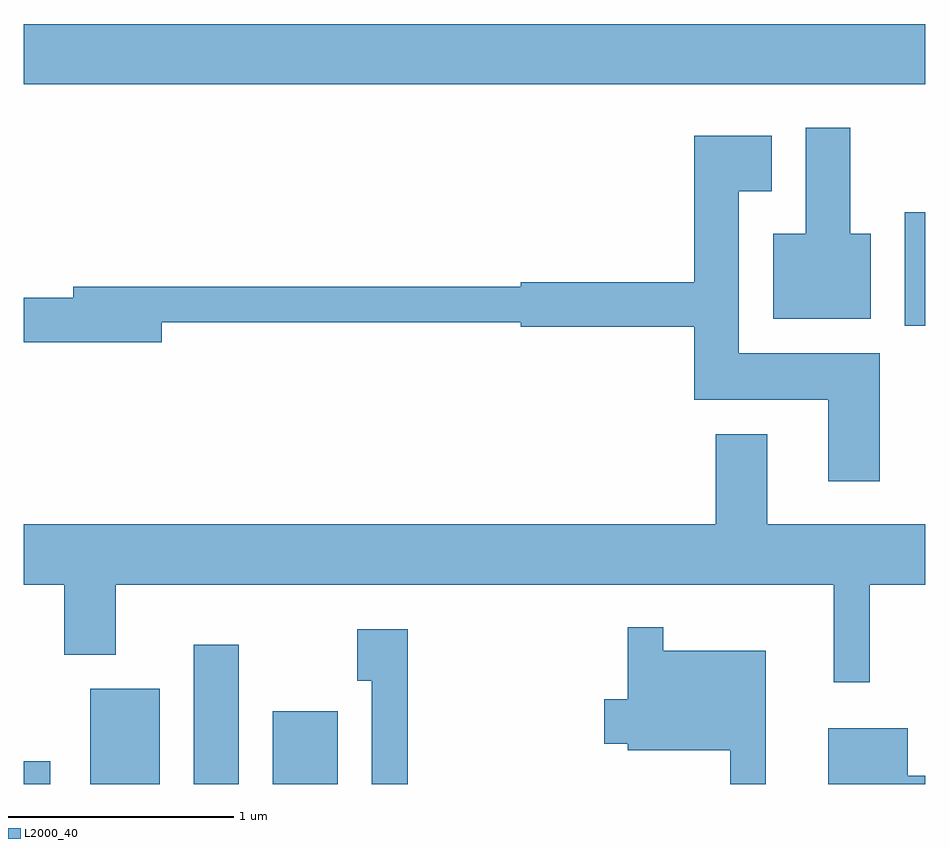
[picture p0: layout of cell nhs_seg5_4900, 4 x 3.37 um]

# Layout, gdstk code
import gdstk
lib = gdstk.Library(unit=1e-6, precision=1e-09)
def R(c, l, rs):  # rectangles x0, y0, x1, y1
    for r in rs: c.add(gdstk.rectangle(r[:2], r[2:], *l))
def P(c, l, *ps):  # polygons
    for p in ps: c.add(gdstk.Polygon(p, *l))
L2000_40 = (2000, 40)

nhs_seg5_4900 = lib.new_cell('nhs_seg5_4900')
R(nhs_seg5_4900, L2000_40, [(329.611,1518.072,329.729,1518.173), (329.906,1518.072,330.214,1518.494), (330.366,1518.072,330.564,1518.689), (330.716,1518.072,331.004,1518.394), (333.521,1520.106,333.611,1520.609), (329.611,1521.176,333.611,1521.444)])
P(nhs_seg5_4900, L2000_40, [(333.369,1520.514),(333.279,1520.514),(333.279,1520.984),(333.081,1520.984),(333.081,1520.514),(332.936,1520.514),(332.936,1520.136),(333.369,1520.136)],
  [(333.409,1519.984),(332.784,1519.984),(332.784,1520.701),(332.929,1520.701),(332.929,1520.949),(332.586,1520.949),(332.586,1520.299),(331.816,1520.299),(331.816,1520.279),(329.831,1520.279),(329.831,1520.229),(329.611,1520.229),(329.611,1520.031),(330.224,1520.031),(330.224,1520.121),(331.816,1520.121),(331.816,1520.101),(332.586,1520.101),(332.586,1519.776),(333.181,1519.776),(333.181,1519.416),(333.409,1519.416)],
  [(333.364,1518.956),(333.611,1518.956),(333.611,1519.224),(332.909,1519.224),(332.909,1519.624),(332.681,1519.624),(332.681,1519.224),(329.611,1519.224),(329.611,1518.956),(329.791,1518.956),(329.791,1518.646),(330.019,1518.646),(330.019,1518.956),(333.206,1518.956),(333.206,1518.523),(333.364,1518.523)],
  [(332.904,1518.664),(332.449,1518.664),(332.449,1518.768),(332.291,1518.768),(332.291,1518.449),(332.186,1518.449),(332.186,1518.251),(332.291,1518.251),(332.291,1518.221),(332.746,1518.221),(332.746,1518.072),(332.904,1518.072)],
  [(331.314,1518.759),(331.091,1518.759),(331.091,1518.531),(331.156,1518.531),(331.156,1518.072),(331.314,1518.072)],
  [(333.611,1518.109),(333.534,1518.109),(333.534,1518.319),(333.181,1518.319),(333.181,1518.072),(333.611,1518.072)])

lib.write_gds('nhs_seg5_4900.gds')
